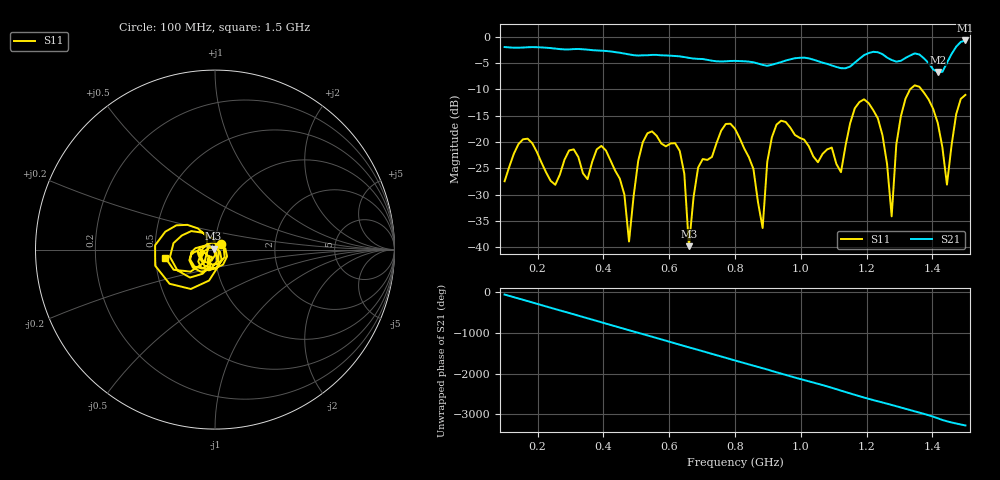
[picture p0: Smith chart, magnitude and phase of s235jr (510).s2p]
! NanoVNA-App
! Date: 2025-09-25 15:08:08
! Start: 100MHz Stop: 1,5GHz Points: 101
! S-Parameter data: F S11 S21 S12 S22
# Hz S RI R 50
!  Frequency  S11_Real  S11_Imag  S21_Real  S21_Imag  S12_Real  S12_Imag  S22_Real  S22_Imag
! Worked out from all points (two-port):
!   101 points, 100 MHz to 1.5 GHz, reference 50 ohm
!   highest |S21| = -0.71 dB at 1.5 GHz (marker M1); lowest = -6.7 dB at 1.416 GHz (marker M2)
!   |S21| within 3 dB of the highest: start of sweep to 627 MHz; 1.188 GHz to 1.257 GHz (68.73 MHz wide, 5.62 % of centre) (the widest 2 of 4)
!   lowest |S11| = -39.8 dB at 660 MHz (marker M3), VSWR 1.02, Z = 49.2 + j0.598 ohm
!   |S11| at or under -10 dB: start of sweep to 1.332 GHz; 1.366 GHz to end of sweep
!   S12 and S22 are empty: the file has one direction only
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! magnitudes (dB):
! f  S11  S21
! 100 MHz  -27.5  -2.0
! 170 MHz  -19.4  -2.0
! 338 MHz  -26.0  -2.4
! 408 MHz  -21.6  -2.7
! 478 MHz  -38.9  -3.4
! 520 MHz  -20.0  -3.5
! 576 MHz  -20.3  -3.5
! 632 MHz  -21.7  -3.7
! 660 MHz  -39.8  -4.0
! 688 MHz  -24.9  -4.2
! 800 MHz  -17.5  -4.6
! 884 MHz  -36.4  -5.4
! 926 MHz  -16.7  -5.1
! 1.038 GHz  -22.8  -4.4
! 1.122 GHz  -25.7  -6.0
! 1.192 GHz  -11.9  -3.5
! 1.248 GHz  -18.7  -3.3
! 1.276 GHz  -34.1  -4.4
! 1.332 GHz  -10.0  -3.6
! 1.416 GHz  -16.4  -6.7
! 1.444 GHz  -28.1  -5.0
! 1.5 GHz  -11.1  -0.7
